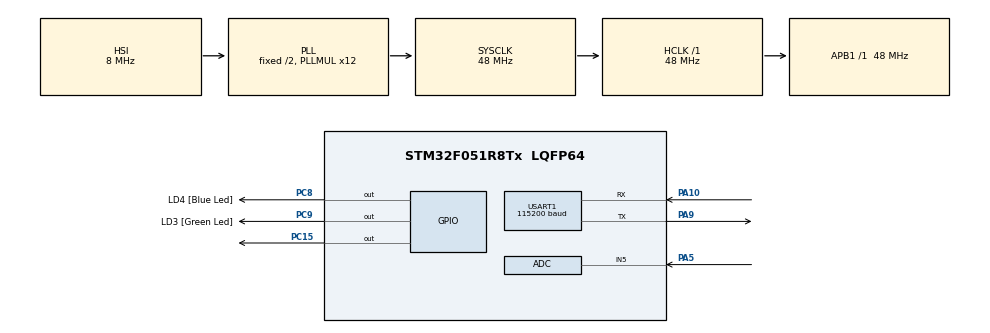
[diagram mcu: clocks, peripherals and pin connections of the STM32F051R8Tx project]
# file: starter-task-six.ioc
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Mcu.Family=STM32F0
Mcu.Name=STM32F051R8Tx
Mcu.Package=LQFP64
PA10.Mode=Asynchronous
PA10.Signal=USART1_RX
PA13.GPIO_Label=SWDIO
PA13.Mode=Serial_Wire
PA13.Signal=SYS_SWDIO
PA14.GPIO_Label=SWCLK
PA14.Mode=Serial_Wire
PA14.Signal=SYS_SWCLK
PA5.Mode=IN5
PA5.Signal=ADC_IN5
PA9.Mode=Asynchronous
PA9.Signal=USART1_TX
PC15-OSC32_OUT.Signal=GPIO_Output
PC8.GPIO_Label=LD4 [Blue Led]
PC8.Signal=GPIO_Output
PC9.GPIO_Label=LD3 [Green Led]
PC9.Signal=GPIO_Output
ProjectManager.HeapSize=0x200
ProjectManager.StackSize=0x400
ProjectManager.TargetToolchain=STM32CubeIDE
RCC.AHBFreq_Value=48000000
RCC.APB1Freq_Value=48000000
RCC.APB1TimFreq_Value=48000000
RCC.HCLKFreq_Value=48000000
RCC.PLLMUL=RCC_PLL_MUL12
RCC.SYSCLKFreq_VALUE=48000000
RCC.SYSCLKSource=RCC_SYSCLKSOURCE_PLLCLK
USART1.BaudRate=115200
USART1.VirtualMode-Asynchronous=VM_ASYNC
board=STM32F0DISCOVERY

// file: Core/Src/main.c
/* USER CODE BEGIN Header */
/**
  ******************************************************************************
  * @file           : main.c
  * @brief          : Main program body
  ******************************************************************************
  * @attention
  *
  * Copyright (c) 2024 STMicroelectronics.
  * All rights reserved.
  *
  * This software is licensed under terms that can be found in the LICENSE file
  * in the root directory of this software component.
  * If no LICENSE file comes with this software, it is provided AS-IS.
  *
  ******************************************************************************
  */
/* USER CODE END Header */
#include "main.h"

/* USER CODE BEGIN Includes */
#include <stdio.h>
#include <string.h>
#include <stdlib.h>

/* USER CODE END Includes */

ADC_HandleTypeDef hadc;

UART_HandleTypeDef huart1;

void SystemClock_Config(void);
static void MX_GPIO_Init(void);
static void MX_ADC_Init(void);
static void MX_USART1_UART_Init(void);

int main(void)
{

  /* USER CODE BEGIN 1 */
	char msg[30];
	unsigned int raw;
	float voltage;

  /* USER CODE END 1 */

  /* MCU Configuration--------------------------------------------------------*/

  /* Reset of all peripherals, Initializes the Flash interface and the Systick. */
  HAL_Init();

  /* Configure the system clock */
  SystemClock_Config();

  /* Initialize all configured peripherals */
  MX_GPIO_Init();
  MX_ADC_Init();
  MX_USART1_UART_Init();

  /* Infinite loop */
  while (1)
  {

    /* USER CODE BEGIN 3 */

	  HAL_ADC_Start(&hadc);
	  HAL_Delay(500);
	  HAL_ADC_PollForConversion(&hadc, 100);
	  HAL_Delay(500);
	  raw = HAL_ADC_GetValue(&hadc);
	  HAL_ADC_Stop(&hadc);

	  voltage = (raw * 5.0) / 4095;

	  sprintf(msg, "voltage: %.2f V\r\nraw: %u\r\n\n", voltage, raw);
	  HAL_UART_Transmit(&huart1, (uint8_t*)msg, strlen(msg), HAL_MAX_DELAY);

  }
  /* USER CODE END 3 */
}

void SystemClock_Config(void)
{
  RCC_OscInitTypeDef RCC_OscInitStruct = {0};
  RCC_ClkInitTypeDef RCC_ClkInitStruct = {0};
  RCC_PeriphCLKInitTypeDef PeriphClkInit = {0};

  /** Initializes the RCC Oscillators according to the specified parameters
  * in the RCC_OscInitTypeDef structure.
  */
  RCC_OscInitStruct.OscillatorType = RCC_OSCILLATORTYPE_HSI|RCC_OSCILLATORTYPE_HSI14;
  RCC_OscInitStruct.HSIState = RCC_HSI_ON;
  RCC_OscInitStruct.HSI14State = RCC_HSI14_ON;
  RCC_OscInitStruct.HSICalibrationValue = RCC_HSICALIBRATION_DEFAULT;
  RCC_OscInitStruct.HSI14CalibrationValue = 16;
  RCC_OscInitStruct.PLL.PLLState = RCC_PLL_ON;
  RCC_OscInitStruct.PLL.PLLSource = RCC_PLLSOURCE_HSI;
  RCC_OscInitStruct.PLL.PLLMUL = RCC_PLL_MUL12;
  RCC_OscInitStruct.PLL.PREDIV = RCC_PREDIV_DIV1;
  if (HAL_RCC_OscConfig(&RCC_OscInitStruct) != HAL_OK)
  {
    Error_Handler();
  }

  /** Initializes the CPU, AHB and APB buses clocks
  */
  RCC_ClkInitStruct.ClockType = RCC_CLOCKTYPE_HCLK|RCC_CLOCKTYPE_SYSCLK
                              |RCC_CLOCKTYPE_PCLK1;
  RCC_ClkInitStruct.SYSCLKSource = RCC_SYSCLKSOURCE_PLLCLK;
  RCC_ClkInitStruct.AHBCLKDivider = RCC_SYSCLK_DIV1;
  RCC_ClkInitStruct.APB1CLKDivider = RCC_HCLK_DIV1;

  if (HAL_RCC_ClockConfig(&RCC_ClkInitStruct, FLASH_LATENCY_1) != HAL_OK)
  {
    Error_Handler();
  }
  PeriphClkInit.PeriphClockSelection = RCC_PERIPHCLK_USART1;
  PeriphClkInit.Usart1ClockSelection = RCC_USART1CLKSOURCE_PCLK1;
  if (HAL_RCCEx_PeriphCLKConfig(&PeriphClkInit) != HAL_OK)
  {
    Error_Handler();
  }
}

static void MX_ADC_Init(void)
{

  ADC_ChannelConfTypeDef sConfig = {0};

  /** Configure the global features of the ADC (Clock, Resolution, Data Alignment and number of conversion)
  */
  hadc.Instance = ADC1;
  hadc.Init.ClockPrescaler = ADC_CLOCK_ASYNC_DIV1;
  hadc.Init.Resolution = ADC_RESOLUTION_12B;
  hadc.Init.DataAlign = ADC_DATAALIGN_RIGHT;
  hadc.Init.ScanConvMode = ADC_SCAN_DIRECTION_FORWARD;
  hadc.Init.EOCSelection = ADC_EOC_SINGLE_CONV;
  hadc.Init.LowPowerAutoWait = DISABLE;
  hadc.Init.LowPowerAutoPowerOff = DISABLE;
  hadc.Init.ContinuousConvMode = DISABLE;
  hadc.Init.DiscontinuousConvMode = DISABLE;
  hadc.Init.ExternalTrigConv = ADC_SOFTWARE_START;
  hadc.Init.ExternalTrigConvEdge = ADC_EXTERNALTRIGCONVEDGE_NONE;
  hadc.Init.DMAContinuousRequests = DISABLE;
  hadc.Init.Overrun = ADC_OVR_DATA_PRESERVED;
  if (HAL_ADC_Init(&hadc) != HAL_OK)
  {
    Error_Handler();
  }

  /** Configure for the selected ADC regular channel to be converted.
  */
  sConfig.Channel = ADC_CHANNEL_5;
  sConfig.Rank = ADC_RANK_CHANNEL_NUMBER;
  sConfig.SamplingTime = ADC_SAMPLETIME_1CYCLE_5;
  if (HAL_ADC_ConfigChannel(&hadc, &sConfig) != HAL_OK)
  {
    Error_Handler();
  }

}

static void MX_USART1_UART_Init(void)
{

  huart1.Instance = USART1;
  huart1.Init.BaudRate = 115200;
  huart1.Init.WordLength = UART_WORDLENGTH_8B;
  huart1.Init.StopBits = UART_STOPBITS_1;
  huart1.Init.Parity = UART_PARITY_NONE;
  huart1.Init.Mode = UART_MODE_TX_RX;
  huart1.Init.HwFlowCtl = UART_HWCONTROL_NONE;
  huart1.Init.OverSampling = UART_OVERSAMPLING_16;
  huart1.Init.OneBitSampling = UART_ONE_BIT_SAMPLE_DISABLE;
  huart1.AdvancedInit.AdvFeatureInit = UART_ADVFEATURE_NO_INIT;
  if (HAL_UART_Init(&huart1) != HAL_OK)
  {
    Error_Handler();
  }

}

static void MX_GPIO_Init(void)
{
  GPIO_InitTypeDef GPIO_InitStruct = {0};

  /* GPIO Ports Clock Enable */
  __HAL_RCC_GPIOC_CLK_ENABLE();
  __HAL_RCC_GPIOA_CLK_ENABLE();

  /*Configure GPIO pin Output Level */
  HAL_GPIO_WritePin(GPIOC, GPIO_PIN_15|LD4_Pin|LD3_Pin, GPIO_PIN_RESET);

  /*Configure GPIO pins : PC15 LD4_Pin LD3_Pin */
  GPIO_InitStruct.Pin = GPIO_PIN_15|LD4_Pin|LD3_Pin;
  GPIO_InitStruct.Mode = GPIO_MODE_OUTPUT_PP;
  GPIO_InitStruct.Pull = GPIO_NOPULL;
  GPIO_InitStruct.Speed = GPIO_SPEED_FREQ_LOW;
  HAL_GPIO_Init(GPIOC, &GPIO_InitStruct);

}

void Error_Handler(void)
{
  __disable_irq();
  while (1)
  {
  }
}
